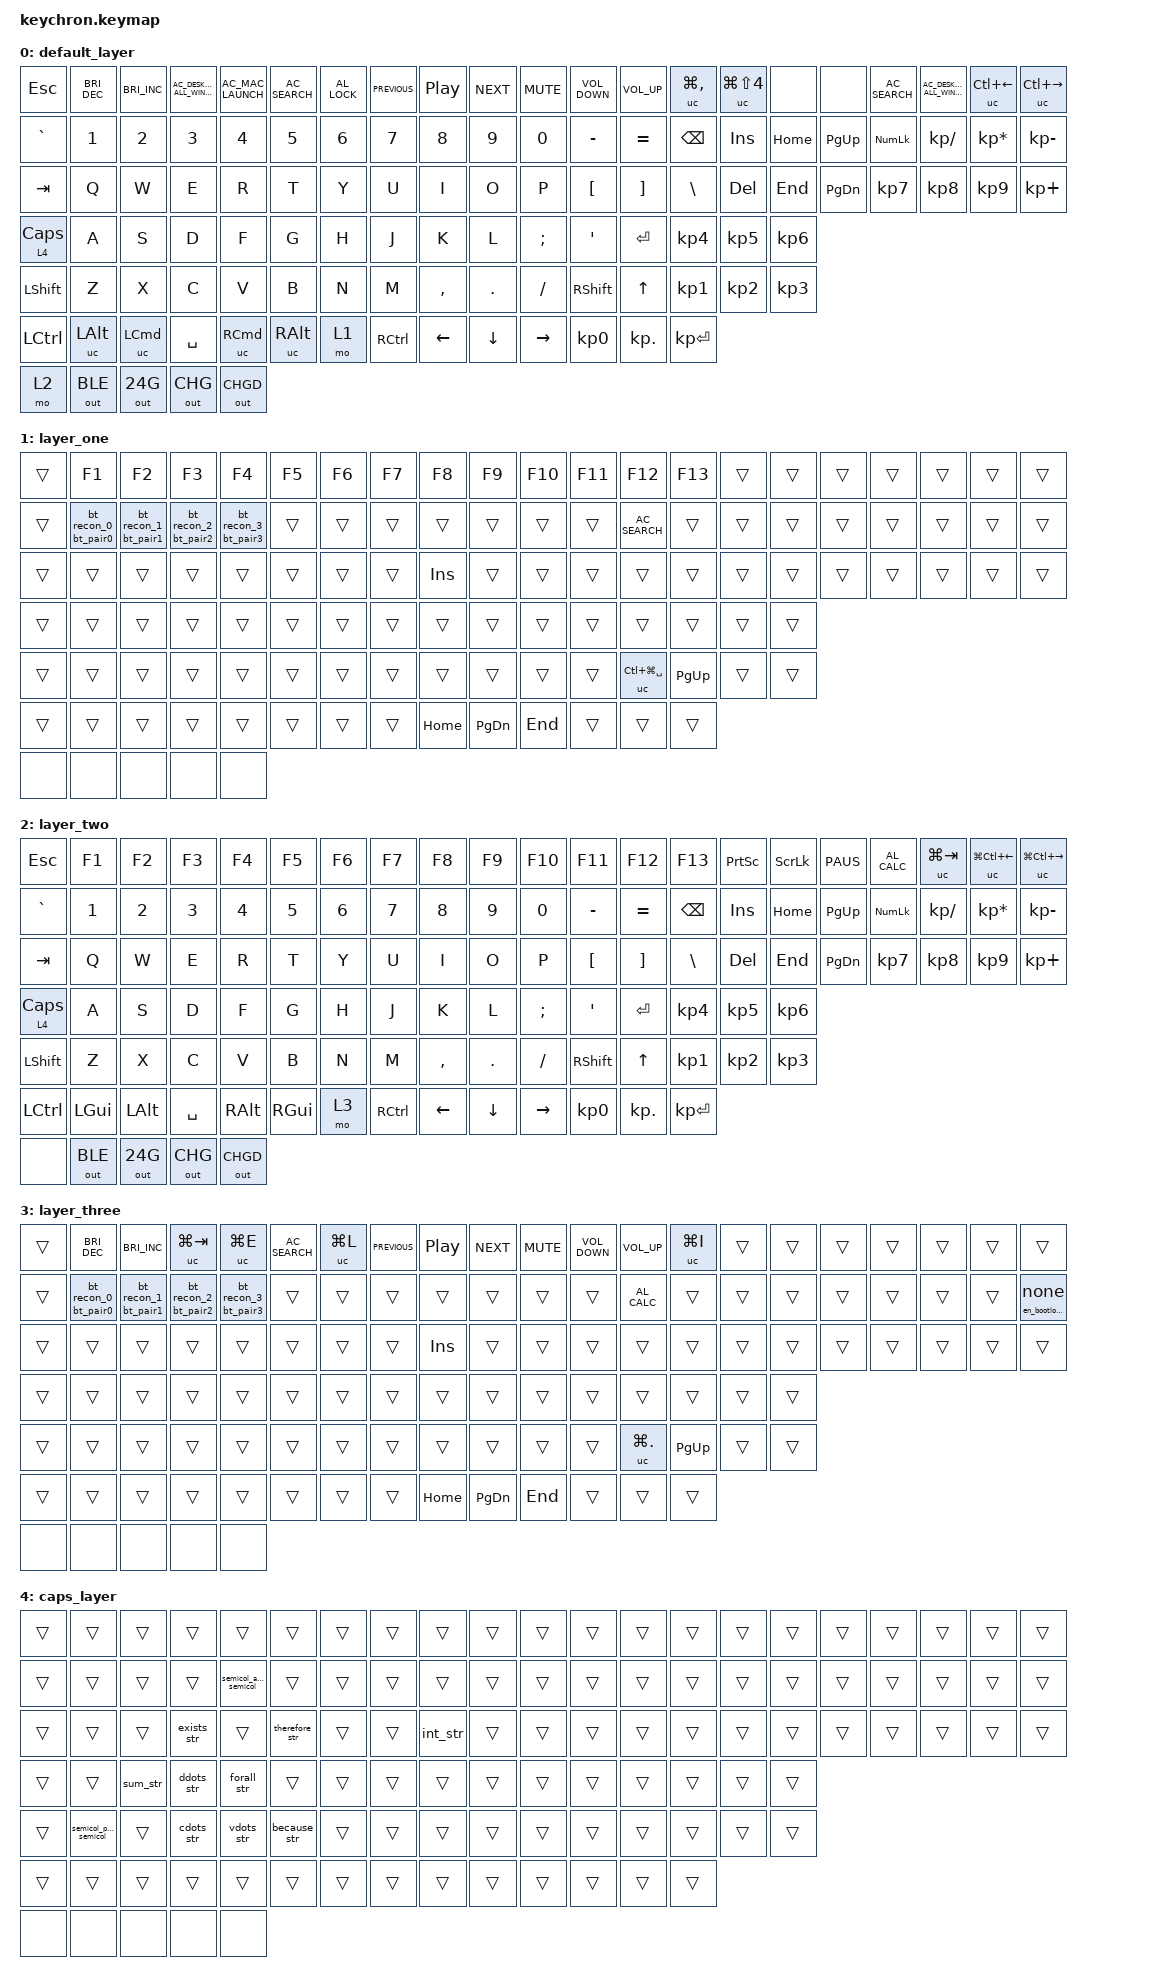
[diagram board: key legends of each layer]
/*
 * Copyright (c) 2023 The ZMK Contributors
 *
 * SPDX-License-Identifier: MIT
 */

#include <behaviors.dtsi>
#include <dt-bindings/zmk/keys.h>
#include <dt-bindings/zmk/rgb.h>
#include <dt-bindings/zmk/bt.h>
#include <dt-bindings/zmk/outputs.h>
// &main_encoder {
//     status = "okay";
// };

/ {
    ZMK_MACRO(recover, bindings = <&out OUT_RECOVER>;)
    ZMK_MACRO(change, bindings = <&out OUT_FN>;)
    ZMK_MACRO(fn_win, bindings = <&out OUT_FN_WIN>;)

    ZMK_MACRO(en_bootloader, bindings = <&bootloader>;)
    ZMK_MACRO1(MA,bindings=<&kp 0x770000>;)

    ZMK_MACRO(exists_str,
        bindings = <&kp BSLH &kp E &kp X &kp I &kp S &kp T &kp S>;
    )

    ZMK_MACRO(semicol_and_semicol,
        bindings = <&kp BSLH &kp SEMI &kp BSLH &kp AMPS &kp BSLH &kp SEMI>;
    )

    ZMK_MACRO(semicol_pipe_semicol,
        bindings = <&kp BSLH &kp SEMI &kp PIPE &kp BSLH &kp SEMI>;
    )

    ZMK_MACRO(forall_str,
        bindings = <&kp BSLH &kp SEMI &kp BSLH &kp F &kp O &kp R &kp A &kp L &kp L &kp BSLH &kp SEMI>;
    )

    ZMK_MACRO(cdots_str,
        bindings = <&kp BSLH &kp C &kp D &kp O &kp T &kp S>;
    )

    ZMK_MACRO(vdots_str,
        bindings = <&kp BSLH &kp V &kp D &kp O &kp T &kp S>;
    )

    ZMK_MACRO(ddots_str,
        bindings = <&kp BSLH &kp D &kp D &kp O &kp T &kp S>;
    )

    ZMK_MACRO(int_str,
        bindings = <&kp BSLH &kp I &kp N &kp T>;
    )

    ZMK_MACRO(sum_str,
        bindings = <&kp BSLH &kp S &kp U &kp M>;
    )

    ZMK_MACRO(therefore_str,
        bindings = <&kp BSLH &kp T &kp H &kp E &kp R &kp E &kp F &kp O &kp R &kp E>;
    )

    ZMK_MACRO(because_str,
        bindings = <&kp BSLH &kp B &kp E &kp C &kp A &kp U &kp S &kp E>;
    )

    caps_ht: caps_ht {
        compatible = "zmk,behavior-hold-tap";
        label = "caps_ht";
        #binding-cells = <2>;
        flavor = "hold-preferred";
        tapping-term-ms = <200>;
        bindings = <&mo>, <&kp>;
    };

    long_press_recover:l1 {
        compatible = "zmk,behavior-hold-tap";
        label = "l1";
        #binding-cells = <2>;
        flavor = "tap-preferred";
        tapping-term-ms = <3000>;
        bindings = <&recover>, <&none>;
    };

    long_press_change:l2{
        compatible = "zmk,behavior-hold-tap";
        label = "lp_change";
        #binding-cells = <2>;
        flavor = "tap-preferred";
        tapping-term-ms = <3000>;
        bindings = <&change>, <&none>;
    };
    long_press_bootloader:l3{
        compatible = "zmk,behavior-hold-tap";
        label = "lp_bootloader";
        #binding-cells = <2>;
        flavor = "tap-preferred";
        tapping-term-ms = <3000>;
        bindings = <&en_bootloader>, <&none>;
    };
    long_press_fn_win:l4{
        compatible = "zmk,behavior-hold-tap";
        label = "lp_fn_win";
        #binding-cells = <2>;
        flavor = "tap-preferred";
        tapping-term-ms = <3000>;
        bindings = <&fn_win>, <&none>;
    };

    combos1 {
        compatible = "zmk,combos";
        combo_jz {
            timeout-ms = <1000>;
            layers = <1 3>;
            key-positions = <69 81>;
            bindings = <&long_press_recover 0 0>;
        };
        combo_xl {
            timeout-ms = <1000>;
            layers =< 1 3>;
            key-positions = <82 71>;
            bindings = <&long_press_change 0 0>;
        };
        combo_b {
            timeout-ms = <1000>;
            layers =< 1 3>;
            key-positions = <85>;
            bindings = <&out OUT_BAT>;
        };

        combo_win_l {
            timeout-ms = <1000>;
            layers =< 1 3>;
            key-positions = <97>;
            bindings = <&long_press_fn_win 0 0>;
        };
        combo_win_r {
            timeout-ms = <1000>;
            layers =< 1 3>;
            key-positions = <101>;
            bindings = <&long_press_fn_win 0 0>;
        };
        combo_t0 {
            timeout-ms = <10 >;
            layers =<4>;
            key-positions = <80 90>;
            bindings = <&to 3 >;
        };
        combo_t1 {
            timeout-ms = <10 >;
            layers =<4>;
            key-positions = <80 91>;
            bindings = <&tog 3 >;
        };
        combo_t2 {
            timeout-ms = <10 >;
            layers =<4>;
            key-positions = <80 92>;
            bindings = <&sl 3 >;
        };
        combo_t3 {
            timeout-ms = <10 >;
            layers =<4>;
            key-positions = <70 93>;
            bindings = <&lt 3 SPACE>;
        };
        combo_t4 {
            timeout-ms = <10 >;
            layers =<4>;
            key-positions = <81 94>;
            bindings = <&sk LSHIFT>;
        };
        combo_t5 {
            timeout-ms = <10 >;
            layers =<4>;
            key-positions = <81 93>;
            bindings = <&mt LSHIFT SPACE>;
        };
        combo_t6 {
            timeout-ms = <10 >;
            layers =<4>;
            key-positions = <81 93>;
            bindings = <&gresc>;
        };
    };

    td0 {
        compatible = "zmk,behavior-tap-dance";
        label = "TAPD_LAYER";
        #binding-cells = <1>;
        tapping-term-ms = <350>;
        bindings =<&mo 0>,<&mo 0>,<&mo 0>,<&mo 0>,<&to 0>;
    };
    ZMK_MACRO(bt_pair0, bindings = <&bt BT_PAIR 0>;)
    ZMK_MACRO(bt_pair1, bindings = <&bt BT_PAIR 1>;)
    ZMK_MACRO(bt_pair2, bindings = <&bt BT_PAIR 2>;)
    ZMK_MACRO(bt_pair3, bindings = <&bt BT_PAIR 3>;)
    ZMK_MACRO(bt_recon_0, bindings = <&bt BT_SEL 0>;)
    ZMK_MACRO(bt_recon_1, bindings = <&bt BT_SEL 1>;)
    ZMK_MACRO(bt_recon_2, bindings = <&bt BT_SEL 2>;)
    ZMK_MACRO(bt_recon_3, bindings = <&bt BT_SEL 3>;)

    bt_pair_0: bt_pair_0 {
        compatible = "zmk,behavior-hold-tap";
        label = "bt_pair0";
        #binding-cells = <2>;
        flavor = "tap-preferred";
        tapping-term-ms = <3000>;
        bindings = <&bt_pair0>, <&bt_recon_0>;
    };
    bt_pair_1: bt_pair_1 {
        compatible = "zmk,behavior-hold-tap";
        label = "bt_pair1";
        #binding-cells = <2>;
        flavor = "tap-preferred";
        tapping-term-ms = <3000>;
        bindings = <&bt_pair1>, <&bt_recon_1>;
    };
    bt_pair_2: bt_pair_2 {
        compatible = "zmk,behavior-hold-tap";
        label = "bt_pair2";
        #binding-cells = <2>;
        flavor = "tap-preferred";
        tapping-term-ms = <3000>;
        bindings = <&bt_pair2>, <&bt_recon_2>;
    };
    bt_pair_3: bt_pair_3 {
        compatible = "zmk,behavior-hold-tap";
        label = "bt_pair3";
        #binding-cells = <2>;
        flavor = "tap-preferred";
        tapping-term-ms = <3000>;
        bindings = <&bt_pair3>, <&bt_recon_3>;
    };
    uc:user_custom {
        compatible = "zmk,behavior-key-press";
        label ="user_custom";
        #binding-cells =<1>;
    };
    keymap {
        compatible = "zmk,keymap";
        //mac
        default_layer {
        bindings = <
    //esc  //f1                    //f2                //f3                                    //f4                //f5             //f6         //f7            //f8             //f9        //f10      //f11               //f12            //f13           //f14               //f15       //f16       //f17                //f18                                    //f19               //f20
    &kp ESC &kp C_BRIGHTNESS_DEC  &kp C_BRIGHTNESS_INC &kp C_AC_DESKTOP_SHOW_ALL_WINDOWS &kp C_AC_MAC_LAUNCH  &kp C_AC_SEARCH  &kp C_AL_LOCK &kp C_PREVIOUS &kp C_PLAY_PAUSE &kp C_NEXT  &kp C_MUTE &kp C_VOLUME_DOWN   &kp C_VOLUME_UP  &uc LG(COMMA)   &uc LG(LS(N4))      &none       &none       &kp C_AC_SEARCH      &kp C_AC_DESKTOP_SHOW_ALL_WINDOWS       &uc LC(LEFT)        &uc LC(RIGHT)
    //grv  //1    //2    //3    //4    //5    //6    //7    //8    //9    //0    //-    //=    //bspc  //ins   //home  //pgup  //numlk //kp/   //kp*   //kp-
    &kp GRAVE &kp N1 &kp N2 &kp N3 &kp N4 &kp N5 &kp N6 &kp N7 &kp N8 &kp N9 &kp N0 &kp MINUS &kp EQUAL &kp BSPC &kp INS &kp HOME &kp PG_UP &kp KP_NLCK &kp KP_SLASH &kp KP_ASTERISK &kp KP_MINUS
    //tab  //q    //w    //e    //r    //t    //y    //u    //i    //o    //p    //[    //]    //\    //del   //end   //pgdn  //kp7   //kp8   //kp9   //kp+
    &kp TAB &kp Q &kp W &kp E &kp R &kp T &kp Y &kp U &kp I &kp O &kp P &kp LBKT &kp RBKT &kp BSLH &kp DEL &kp END &kp PG_DN &kp KP_N7 &kp KP_N8 &kp KP_N9 &kp KP_PLUS
    //caps //a    //s    //d    //f    //g    //h    //j    //k    //l    //;    //'    //ent  //kp4  //kp5  //kp6
    &caps_ht 4 CLCK &kp A &kp S &kp D &kp F &kp G &kp H &kp J &kp K &kp L &kp SEMI &kp SQT &kp RET &kp KP_N4 &kp KP_N5 &kp KP_N6
    //lsft //z    //x    //c    //v    //b    //n    //m    //,    //.    ///    //rsft //up   //kp1  //kp2  //kp3
    &kp LSHFT &kp Z &kp X &kp C &kp V &kp B &kp N &kp M &kp COMMA &kp DOT &kp FSLH &kp RSHFT &kp UP &kp KP_N1 &kp KP_N2 &kp KP_N3
    //lctl //lalt  //lcmd //spc  //rcmd //ralt  //fn   //rctl  //left  //down  //right //kp0   //kp.   //kpent
    &kp LCTRL &uc LALT &uc LCMD &kp SPACE &uc RCMD &uc RALT &mo 1 &kp RCTRL &kp LEFT &kp DOWN &kp RIGHT &kp KP_N0 &kp KP_DOT &kp KP_ENTER
    //
    &mo 2 &out OUT_BLE &out OUT_24G &out OUT_CHG &out OUT_CHGD
        >;
        };
        //mac fn
        layer_one {
        bindings = <
    &trans &kp F1         &kp F2         &kp F3         &kp F4         &kp F5         &kp F6         &kp F7         &kp F8         &kp F9         &kp F10            &kp F11            &kp F12            &kp F13            &trans         &trans             &trans         &trans         &trans         &trans         &trans
    &trans &bt_pair_0 0 0 &bt_pair_1 0 0 &bt_pair_2 0 0 &bt_pair_3 0 0 &trans         &trans         &trans         &trans         &trans         &trans             &trans             &kp C_AC_SEARCH    &trans             &trans         &trans             &trans         &trans         &trans         &trans         &trans
    &trans &trans         &trans         &trans         &trans         &trans         &trans         &trans         &kp INS        &trans         &trans             &trans             &trans             &trans             &trans         &trans             &trans         &trans         &trans         &trans         &trans
    &trans &trans         &trans         &trans         &trans         &trans         &trans         &trans         &trans         &trans         &trans             &trans             &trans             &trans             &trans         &trans
    &trans &trans         &trans         &trans         &trans         &trans         &trans         &trans         &trans         &trans         &trans             &trans             &uc LC(LG(SPACE))  &kp PG_UP          &trans         &trans
    &trans &trans         &trans         &trans         &trans         &trans         &trans         &trans         &kp HOME       &kp PG_DN      &kp END            &trans             &trans             &trans
    //
    &none &none &none &none &none
        >;
        };
        //win
        layer_two {
        bindings = <
    //esc  //f1    //f2    //f3    //f4    //f5    //f6    //f7    //f8    //f9    //f10   //f11   //f12   //f13   //pscr  //slck  //paus  //calc   //lgui+tab //lgui+lctl+left //lgui+lctl+right
    &kp ESC &kp F1 &kp F2 &kp F3 &kp F4 &kp F5 &kp F6 &kp F7 &kp F8 &kp F9 &kp F10 &kp F11 &kp F12 &kp F13 &kp PSCRN &kp SLCK &kp PAUS &kp C_AL_CALC &uc LG(TAB) &uc LG(LC(LEFT)) &uc LG(LC(RIGHT))
    //grv  //1    //2    //3    //4    //5    //6    //7    //8    //9    //0    //-    //=    //bspc  //ins   //home  //pgup  //numlk //kp/   //kp*   //kp-
    &kp GRAVE &kp N1 &kp N2 &kp N3 &kp N4 &kp N5 &kp N6 &kp N7 &kp N8 &kp N9 &kp N0 &kp MINUS &kp EQUAL &kp BSPC &kp INS &kp HOME &kp PG_UP &kp KP_NLCK &kp KP_SLASH &kp KP_ASTERISK &kp KP_MINUS
    //tab  //q    //w    //e    //r    //t    //y    //u    //i    //o    //p    //[    //]    //\    //del   //end   //pgdn  //kp7   //kp8   //kp9   //kp+
    &kp TAB &kp Q &kp W &kp E &kp R &kp T &kp Y &kp U &kp I &kp O &kp P &kp LBKT &kp RBKT &kp BSLH &kp DEL &kp END &kp PG_DN &kp KP_N7 &kp KP_N8 &kp KP_N9 &kp KP_PLUS
    //caps //a    //s    //d    //f    //g    //h    //j    //k    //l    //;    //'    //ent  //kp4  //kp5  //kp6
    &caps_ht 4 CLCK &kp A &kp S &kp D &kp F &kp G &kp H &kp J &kp K &kp L &kp SEMI &kp SQT &kp RET &kp KP_N4 &kp KP_N5 &kp KP_N6
    //lsft //z    //x    //c    //v    //b    //n    //m    //,    //.    ///    //rsft //up   //kp1  //kp2  //kp3
    &kp LSHFT &kp Z &kp X &kp C &kp V &kp B &kp N &kp M &kp COMMA &kp DOT &kp FSLH &kp RSHFT &kp UP &kp KP_N1 &kp KP_N2 &kp KP_N3
    //lctl //lgui  //lalt //spc  //ralt //rgui  //fn   //rctl  //left  //down  //right //kp0   //kp.   //kpent
    &kp LCTRL &kp LGUI &kp LALT &kp SPACE &kp RALT &kp RGUI &mo 3 &kp RCTRL &kp LEFT &kp DOWN &kp RIGHT &kp KP_N0 &kp KP_DOT &kp KP_ENTER
    //
    &none &out OUT_BLE &out OUT_24G &out OUT_CHG &out OUT_CHGD
        >;
        };
        //win fn
        layer_three {
        bindings = <
    &trans &kp C_BRIGHTNESS_DEC &kp C_BRIGHTNESS_INC &uc LG(TAB) &uc LG(E) &kp C_AC_SEARCH &uc LG(L) &kp C_PREVIOUS &kp C_PLAY_PAUSE &kp C_NEXT &kp C_MUTE &kp C_VOLUME_DOWN &kp C_VOLUME_UP &uc LG(I) &trans &trans &trans &trans &trans &trans &trans
    &trans &bt_pair_0 0 0 &bt_pair_1 0 0 &bt_pair_2 0 0 &bt_pair_3 0 0 &trans &trans &trans &trans &trans &trans &trans &kp C_AL_CALC &trans &trans &trans &trans &trans &trans &trans &long_press_bootloader 0 0
    &trans &trans &trans &trans &trans &trans &trans &trans &kp INS &trans &trans &trans &trans &trans &trans &trans &trans &trans &trans &trans &trans
    &trans &trans &trans &trans &trans &trans &trans &trans &trans &trans &trans &trans &trans &trans &trans &trans
    &trans &trans &trans &trans &trans &trans &trans &trans &trans &trans &trans &trans &uc LG(DOT) &kp PG_UP &trans &trans
    &trans &trans &trans &trans &trans &trans &trans &trans &kp HOME &kp PG_DN &kp END &trans &trans &trans
    //
    &none &none &none &none &none
        >;
        };

        //caps layer
        caps_layer {
            bindings = <
            // fn row - all transparent (21 keys)
            &trans &trans &trans &trans &trans &trans &trans &trans &trans &trans &trans &trans &trans &trans &trans &trans &trans &trans &trans &trans &trans
            // number row - 4=\;\&\; (21 keys)
            &trans &trans &trans &trans &semicol_and_semicol &trans &trans &trans &trans &trans &trans &trans &trans &trans &trans &trans &trans &trans &trans &trans &trans
            // qwerty row - E=\exists T=\therefore I=\int (21 keys)
            &trans &trans &trans &exists_str &trans &therefore_str &trans &trans &int_str &trans &trans &trans &trans &trans &trans &trans &trans &trans &trans &trans &trans
            // home row - S=\sum D=\ddots F=\forall (16 keys)
            &trans &trans &sum_str &ddots_str &forall_str &trans &trans &trans &trans &trans &trans &trans &trans &trans &trans &trans
            // bottom row - Z=\;|\; C=\cdots V=\vdots B=\because (16 keys)
            &trans &semicol_pipe_semicol &trans &cdots_str &vdots_str &because_str &trans &trans &trans &trans &trans &trans &trans &trans &trans &trans
            // modifier row (14 keys)
            &trans &trans &trans &trans &trans &trans &trans &trans &trans &trans &trans &trans &trans &trans
            &none &none &none &none &none
            >;
        };
    };


};
